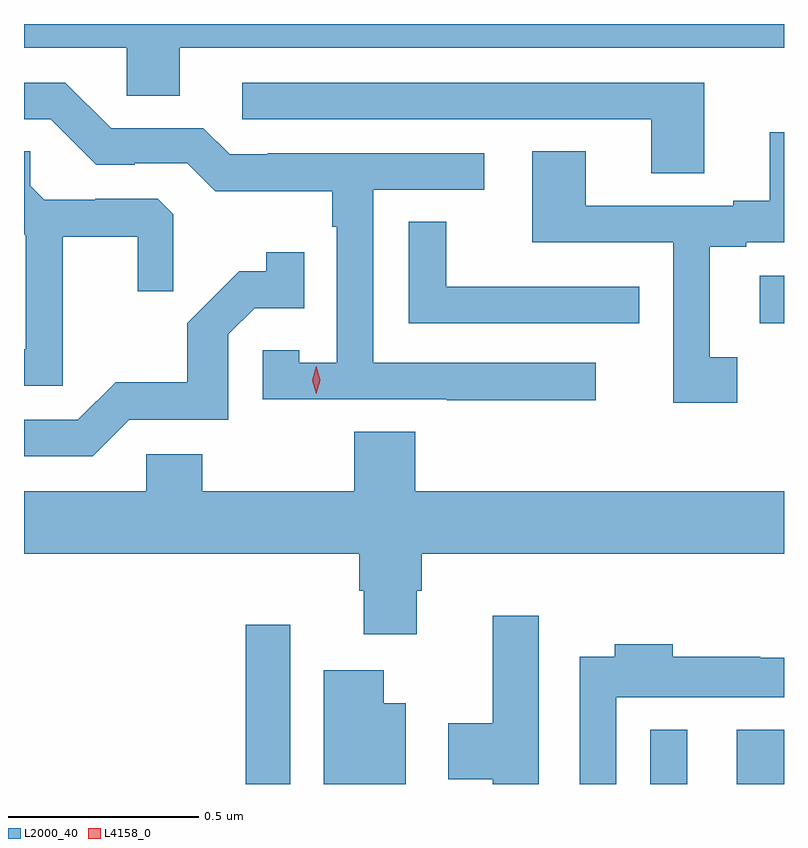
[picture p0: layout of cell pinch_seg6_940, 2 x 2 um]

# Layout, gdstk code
import gdstk
lib = gdstk.Library(unit=1e-6, precision=1e-09)
def R(c, l, rs):  # rectangles x0, y0, x1, y1
    for r in rs: c.add(gdstk.rectangle(r[:2], r[2:], *l))
def P(c, l, *ps):  # polygons
    for p in ps: c.add(gdstk.Polygon(p, *l))
L2000_40 = (2000, 40)
L4158_0 = (4158, 0)

pinch_seg6_940 = lib.new_cell('pinch_seg6_940')
R(pinch_seg6_940, L2000_40, [(184.915,952.058,185.031,952.477), (185.979,952.058,186.076,952.201), (186.206,952.058,186.331,952.201), (186.267,953.271,186.331,953.395)])
P(pinch_seg6_940, L2000_40, [(184.741,953.996),(186.331,953.996),(186.331,954.058),(184.331,954.058),(184.331,953.996),(184.602,953.996),(184.602,953.869),(184.741,953.869)],
  [(185.836,953.166),(185.25,953.166),(185.25,953.622),(185.542,953.622),(185.542,953.718),(184.972,953.718),(184.972,953.715),(184.872,953.715),(184.803,953.784),(184.56,953.784),(184.44,953.904),(184.331,953.904),(184.331,953.808),(184.401,953.808),(184.521,953.688),(184.622,953.688),(184.622,953.691),(184.761,953.691),(184.834,953.618),(185.142,953.618),(185.142,953.525),(185.154,953.525),(185.154,953.167),(185.055,953.167),(185.055,953.199),(184.959,953.199),(184.959,953.07),(185.443,953.07),(185.443,953.068),(185.836,953.068)],
  [(186.121,953.904),(184.905,953.904),(184.905,953.808),(185.981,953.808),(185.981,953.665),(186.121,953.665)],
  [(186.208,953.181),(186.136,953.181),(186.136,953.472),(186.232,953.472),(186.232,953.484),(186.331,953.484),(186.331,953.773),(186.293,953.773),(186.293,953.593),(186.197,953.593),(186.197,953.58),(185.809,953.58),(185.809,953.723),(185.669,953.723),(185.669,953.484),(186.039,953.484),(186.039,953.061),(186.208,953.061)],
  [(184.433,953.498),(184.63,953.498),(184.63,953.355),(184.724,953.355),(184.724,953.557),(184.683,953.598),(184.518,953.598),(184.518,953.595),(184.384,953.595),(184.347,953.632),(184.347,953.723),(184.331,953.723),(184.331,953.505),(184.335,953.501),(184.335,953.202),(184.331,953.202),(184.331,953.106),(184.433,953.106)],
  [(185.95,953.366),(185.837,953.366),(185.837,953.367),(185.442,953.367),(185.442,953.537),(185.343,953.537),(185.343,953.271),(185.95,953.271)],
  [(184.608,953.016),(184.869,953.016),(184.869,953.241),(184.938,953.31),(185.069,953.31),(185.069,953.458),(184.968,953.458),(184.968,953.408),(184.898,953.408),(184.761,953.27),(184.761,953.115),(184.572,953.115),(184.473,953.016),(184.331,953.016),(184.331,952.92),(184.512,952.92)],
  [(185.365,952.566),(185.378,952.566),(185.378,952.664),(186.331,952.664),(186.331,952.828),(185.36,952.828),(185.36,952.985),(185.2,952.985),(185.2,952.828),(184.8,952.828),(184.8,952.926),(184.653,952.926),(184.653,952.828),(184.331,952.828),(184.331,952.664),(185.213,952.664),(185.213,952.566),(185.225,952.566),(185.225,952.452),(185.365,952.452)],
  [(185.686,952.501),(185.564,952.501),(185.564,952.218),(185.447,952.218),(185.447,952.07),(185.564,952.07),(185.564,952.058),(185.686,952.058)],
  [(185.889,952.286),(186.331,952.286),(186.331,952.39),(186.269,952.39),(186.269,952.393),(186.038,952.393),(186.038,952.426),(185.885,952.426),(185.885,952.393),(185.793,952.393),(185.793,952.058),(185.889,952.058)],
  [(185.335,952.27),(185.278,952.27),(185.278,952.357),(185.12,952.357),(185.12,952.058),(185.335,952.058)])
P(pinch_seg6_940, L4158_0, [(185.1,953.085),(185.1,953.085),(185.09,953.121),(185.1,953.157),(185.1,953.157),(185.1,953.157),(185.11,953.121),(185.1,953.085)])

lib.write_gds('pinch_seg6_940.gds')
